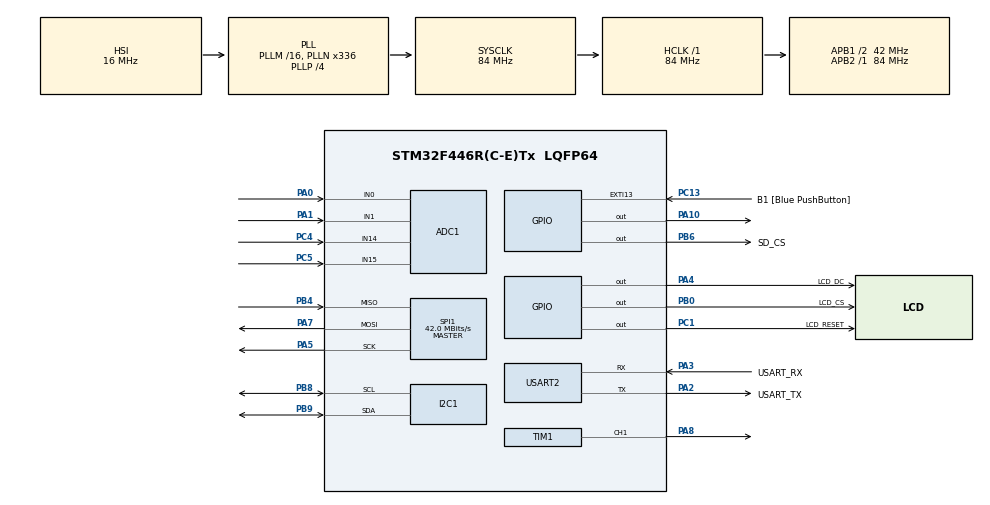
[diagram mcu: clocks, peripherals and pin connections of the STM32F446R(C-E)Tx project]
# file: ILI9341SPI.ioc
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ADC1.Channel-0\#ChannelRegularConversion=ADC_CHANNEL_0
ADC1.Channel-1\#ChannelRegularConversion=ADC_CHANNEL_1
ADC1.Channel-2\#ChannelRegularConversion=ADC_CHANNEL_14
ADC1.Channel-3\#ChannelRegularConversion=ADC_CHANNEL_15
ADC1.ContinuousConvMode=DISABLE
ADC1.DMAContinuousRequests=DISABLE
ADC1.EOCSelection=ADC_EOC_SEQ_CONV
ADC1.NbrOfConversion=4
ADC1.NbrOfConversionFlag=1
ADC1.Rank-0\#ChannelRegularConversion=1
ADC1.Rank-1\#ChannelRegularConversion=2
ADC1.Rank-2\#ChannelRegularConversion=3
ADC1.Rank-3\#ChannelRegularConversion=4
ADC1.SamplingTime-0\#ChannelRegularConversion=ADC_SAMPLETIME_56CYCLES
ADC1.SamplingTime-1\#ChannelRegularConversion=ADC_SAMPLETIME_56CYCLES
ADC1.SamplingTime-2\#ChannelRegularConversion=ADC_SAMPLETIME_56CYCLES
ADC1.SamplingTime-3\#ChannelRegularConversion=ADC_SAMPLETIME_56CYCLES
ADC1.master=1
Dma.ADC1.0.Direction=DMA_PERIPH_TO_MEMORY
Dma.ADC1.0.FIFOMode=DMA_FIFOMODE_DISABLE
Dma.ADC1.0.Instance=DMA2_Stream4
Dma.ADC1.0.MemDataAlignment=DMA_MDATAALIGN_HALFWORD
Dma.ADC1.0.MemInc=DMA_MINC_ENABLE
Dma.ADC1.0.Mode=DMA_NORMAL
Dma.ADC1.0.PeriphDataAlignment=DMA_PDATAALIGN_HALFWORD
Dma.ADC1.0.PeriphInc=DMA_PINC_DISABLE
Dma.ADC1.0.Priority=DMA_PRIORITY_LOW
Dma.Request0=ADC1
Dma.Request1=TIM1_CH1
Dma.TIM1_CH1.1.Direction=DMA_MEMORY_TO_PERIPH
Dma.TIM1_CH1.1.FIFOMode=DMA_FIFOMODE_DISABLE
Dma.TIM1_CH1.1.Instance=DMA2_Stream1
Dma.TIM1_CH1.1.MemDataAlignment=DMA_MDATAALIGN_HALFWORD
Dma.TIM1_CH1.1.MemInc=DMA_MINC_ENABLE
Dma.TIM1_CH1.1.Mode=DMA_NORMAL
Dma.TIM1_CH1.1.PeriphDataAlignment=DMA_PDATAALIGN_HALFWORD
Dma.TIM1_CH1.1.PeriphInc=DMA_PINC_DISABLE
Dma.TIM1_CH1.1.Priority=DMA_PRIORITY_LOW
I2C1.OwnAddress=0x20
Mcu.Family=STM32F4
Mcu.Name=STM32F446R(C-E)Tx
Mcu.Package=LQFP64
NVIC.DMA2_Stream1_IRQn=true\:0\:0\:true\:false\:true\:false\:true\:true
NVIC.DMA2_Stream4_IRQn=true\:0\:0\:false\:false\:true\:false\:true\:true
NVIC.I2C1_ER_IRQn=true\:0\:0\:false\:false\:true\:true\:true\:true
NVIC.I2C1_EV_IRQn=true\:0\:0\:false\:false\:true\:true\:true\:true
NVIC.PriorityGroup=NVIC_PRIORITYGROUP_0
NVIC.TIM1_CC_IRQn=true\:0\:0\:false\:false\:true\:true\:true\:true
PA0-WKUP.Signal=ADCx_IN0
PA1.Signal=ADCx_IN1
PA10.Signal=GPIO_Output
PA13.GPIO_Label=TMS
PA13.Mode=Serial_Wire
PA13.Signal=SYS_JTMS-SWDIO
PA14.GPIO_Label=TCK
PA14.Mode=Serial_Wire
PA14.Signal=SYS_JTCK-SWCLK
PA2.GPIO_Label=USART_TX
PA2.Mode=Asynchronous
PA2.Signal=USART2_TX
PA3.GPIO_Label=USART_RX
PA3.Mode=Asynchronous
PA3.Signal=USART2_RX
PA4.GPIO_Label=LCD_DC
PA4.GPIO_Speed=GPIO_SPEED_FREQ_MEDIUM
PA4.Signal=GPIO_Output
PA5.Mode=Full_Duplex_Master
PA5.Signal=SPI1_SCK
PA7.Mode=Full_Duplex_Master
PA7.Signal=SPI1_MOSI
PA8.GPIO_Speed=GPIO_SPEED_FREQ_HIGH
PA8.Signal=S_TIM1_CH1
PB0.GPIO_Label=LCD_CS
PB0.GPIO_Speed=GPIO_SPEED_FREQ_MEDIUM
PB0.Signal=GPIO_Output
PB3.GPIO_Label=SWO
PB3.Signal=SYS_JTDO-SWO
PB4.Mode=Full_Duplex_Master
PB4.Signal=SPI1_MISO
PB6.GPIO_Label=SD_CS
PB6.GPIO_Speed=GPIO_SPEED_FREQ_MEDIUM
PB6.Signal=GPIO_Output
PB8.GPIO_Pu=GPIO_PULLUP
PB8.Mode=I2C
PB8.Signal=I2C1_SCL
PB9.GPIO_Pu=GPIO_PULLUP
PB9.Mode=I2C
PB9.Signal=I2C1_SDA
PC1.GPIO_Label=LCD_RESET
PC1.GPIO_Speed=GPIO_SPEED_FREQ_MEDIUM
PC1.Signal=GPIO_Output
PC13.GPIO_Label=B1 [Blue PushButton]
PC13.GPIO_ModeDefaultEXTI=GPIO_MODE_IT_FALLING
PC13.Signal=GPXTI13
PC14-OSC32_IN.Mode=LSE-External-Oscillator
PC14-OSC32_IN.Signal=RCC_OSC32_IN
PC15-OSC32_OUT.Mode=LSE-External-Oscillator
PC15-OSC32_OUT.Signal=RCC_OSC32_OUT
PC4.Signal=ADCx_IN14
PC5.Signal=ADCx_IN15
PH0-OSC_IN.Mode=HSE-External-Oscillator
PH0-OSC_IN.Signal=RCC_OSC_IN
PH1-OSC_OUT.Mode=HSE-External-Oscillator
PH1-OSC_OUT.Signal=RCC_OSC_OUT
ProjectManager.HeapSize=0x200
ProjectManager.StackSize=0x400
ProjectManager.TargetToolchain=STM32CubeIDE
RCC.48MHZClocksFreq_Value=84000000
RCC.AHBFreq_Value=84000000
RCC.APB1CLKDivider=RCC_HCLK_DIV2
RCC.APB1Freq_Value=42000000
RCC.APB1TimFreq_Value=84000000
RCC.APB2Freq_Value=84000000
RCC.APB2TimFreq_Value=84000000
RCC.CortexFreq_Value=84000000
RCC.FLatency-AdvancedSettings=FLASH_LATENCY_2
RCC.HCLKFreq_Value=84000000
RCC.HSE_VALUE=8000000
RCC.HSI_VALUE=16000000
RCC.PLLN=336
RCC.PLLP=RCC_PLLP_DIV4
RCC.SYSCLKFreq_VALUE=84000000
RCC.SYSCLKSource=RCC_SYSCLKSOURCE_PLLCLK
RCC.USBFreq_Value=168000000
RCC.VCOOutputFreq_Value=336000000
SH.ADCx_IN0.0=ADC1_IN0,IN0
SH.ADCx_IN1.0=ADC1_IN1,IN1
SH.ADCx_IN14.0=ADC1_IN14,IN14
SH.ADCx_IN15.0=ADC1_IN15,IN15
SH.S_TIM1_CH1.0=TIM1_CH1,PWM Generation1 CH1
SPI1.BaudRatePrescaler=SPI_BAUDRATEPRESCALER_2
SPI1.CalculateBaudRate=42.0 MBits/s
SPI1.Direction=SPI_DIRECTION_2LINES
SPI1.Mode=SPI_MODE_MASTER
SPI1.VirtualType=VM_MASTER
TIM1.Channel-PWM\ Generation1\ CH1=TIM_CHANNEL_1
TIM1.Period=105-1
USART2.VirtualMode=VM_ASYNC
VP_TIM1_VS_ClockSourceINT.Mode=Internal
board=NUCLEO-F446RE

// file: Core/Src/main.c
/* USER CODE BEGIN Header */
/**
 ******************************************************************************
 * @file           : main.c
 * @brief          : Main program body
 ******************************************************************************
 * @attention
 *
 * Copyright (c) 2024 STMicroelectronics.
 * All rights reserved.
 *
 * This software is licensed under terms that can be found in the LICENSE file
 * in the root directory of this software component.
 * If no LICENSE file comes with this software, it is provided AS-IS.
 *
 ******************************************************************************
 */
/* USER CODE END Header */
#include "main.h"

/* USER CODE BEGIN Includes */
#include "ili9341.h"
#include "bitmaps.h"
#include "Neopixel.h"
/* USER CODE END Includes */

/* USER CODE BEGIN PD */
#define TXBUFFERSIZE 4
#define RXBUFFERSIZE 4
#define valor_LDR  3000
#define COLOR_ASFALTO   0x4A49
#define COLOR_AMARILLO  0xF7E0
#define SEG_ON  0x07E0   // verde
#define SEG_OFF 0x0000   // negro (apagado)

// Segmentos: A=arriba, B=sup-der, C=inf-der, D=abajo, E=inf-izq, F=sup-izq, G=medio
// x,y = esquina superior izquierda del display
#define DSP_X  145      //135   // centrado en pantalla (320/2 - 25)
#define DSP_Y  112      //120   // dentro de la calle central
/* USER CODE END PD */

ADC_HandleTypeDef hadc1;
DMA_HandleTypeDef hdma_adc1;

I2C_HandleTypeDef hi2c1;

SPI_HandleTypeDef hspi1;

TIM_HandleTypeDef htim1;
DMA_HandleTypeDef hdma_tim1_ch1;

UART_HandleTypeDef huart2;

/* USER CODE BEGIN PV */
extern const uint16_t menu[];
extern const uint16_t mcqueen_bitmap[];
uint16_t adcValor[4];

int cont = 0;
uint8_t aTxBuffer[TXBUFFERSIZE];
uint8_t aRxBuffer[RXBUFFERSIZE];

uint8_t estadoAnterior[8] = {0, 0, 0, 0, 0, 0, 0, 0}; // para no repetir la impresion en pantalla
float brilloled = 100.0f;  // definición
//-------- display
uint8_t libres_anterior = 255;
/* USER CODE END PV */

void SystemClock_Config(void);
static void MX_GPIO_Init(void);
static void MX_DMA_Init(void);
static void MX_USART2_UART_Init(void);
static void MX_SPI1_Init(void);
static void MX_ADC1_Init(void);
static void MX_I2C1_Init(void);
static void MX_TIM1_Init(void);

/* USER CODE BEGIN 0 */
typedef struct {
    uint16_t x;
    uint16_t y;
    uint16_t w;
    uint16_t h;
} ParkingSpot;

const ParkingSpot spots[8] = {
    {4,   4,  68, 108},  // Espacio 1
    {80,  4,  68, 108},  // Espacio 2
    {172, 4,  68, 108},  // Espacio 3
    {248, 4,  68, 108},  // Espacio 4
    {4,   144, 68, 92},  // Espacio 5
    {80,  144, 68, 92},  // Espacio 6
    {172, 144, 68, 92},  // Espacio 7
    {248, 144, 68, 92}   // Espacio 8
};
// Dibuja el carro de McQueen en el espacio indicado (0-7)
void Parking_DrawCar(uint8_t spot_index) {
    uint16_t x = spots[spot_index].x;
    uint16_t y = spots[spot_index].y;

    // Bajar un poco el carro en la fila inferior
    if (spot_index >= 4) {
        y += 20;  // ajusta este valor al gusto
    }

    uint16_t buffer[50 * 75];
    for (int row = 0; row < 75; row++) {
        for (int col = 0; col < 50; col++) {
            buffer[row * 50 + col] = menu[(y + row) * 320 + (x + col)];
        }
    }
    LCD_Bitmap(x, y, 50, 75, buffer);
    LCD_BitmapTransparent(x, y, 50, 75, mcqueen_bitmap, 0x0000);
}

// Borra el carro y restaura el fondo del espacio
void Parking_ClearCar(uint8_t spot_index) {
    uint16_t x = spots[spot_index].x;
    uint16_t y = spots[spot_index].y;

    // Crea un buffer temporal con los pixeles del menu en esa region
    uint16_t buffer[68 * 92];
    for (int row = 0; row < 92; row++) {
        for (int col = 0; col < 68; col++) {
            buffer[row * 68 + col] = menu[(y + row) * 320 + (x + col)];
        }
    }

    // Dibuja ese recorte usando LCD_Bitmap
    LCD_Bitmap(x, y, 68, 92, buffer);
}
void Draw_Segment(uint8_t seg, uint16_t color) {
    // seg: 0=A 1=B 2=C 3=D 4=E 5=F 6=G
    switch(seg) {
        case 0: FillRect(DSP_X+3,  DSP_Y,    20, 4, color); break; // A arriba
        case 1: FillRect(DSP_X+23, DSP_Y+4,  4, 14, color); break; // B sup-der
        case 2: FillRect(DSP_X+23, DSP_Y+20, 4, 14, color); break; // C inf-der
        case 3: FillRect(DSP_X+3,  DSP_Y+34, 20, 4, color); break; // D abajo
        case 4: FillRect(DSP_X,    DSP_Y+20, 4, 14, color); break; // E inf-izq
        case 5: FillRect(DSP_X,    DSP_Y+4,  4, 14, color); break; // F sup-izq
        case 6: FillRect(DSP_X+3,  DSP_Y+17, 20, 4, color); break; // G medio
    }
}

// Tabla de segmentos por dígito: A B C D E F G
const uint8_t seg_table[9][7] = {
    {1,1,1,1,1,1,0}, // 0
    {0,1,1,0,0,0,0}, // 1
    {1,1,0,1,1,0,1}, // 2
    {1,1,1,1,0,0,1}, // 3
    {0,1,1,0,0,1,1}, // 4
    {1,0,1,1,0,1,1}, // 5
    {1,0,1,1,1,1,1}, // 6
    {1,1,1,0,0,0,0}, // 7
    {1,1,1,1,1,1,1}, // 8
};

void Draw_Display(uint8_t numero) {
    // Fondo del display
    FillRect(DSP_X-4, DSP_Y-4, 35, 46, 0x0000);

    // Dibujar cada segmento
    for (int s = 0; s < 7; s++) {
        Draw_Segment(s, seg_table[numero][s] ? SEG_ON : SEG_OFF);
    }
}
/* USER CODE END 0 */

int main(void)
{

  /* MCU Configuration--------------------------------------------------------*/

  /* Reset of all peripherals, Initializes the Flash interface and the Systick. */
  HAL_Init();

  /* Configure the system clock */
  SystemClock_Config();

  /* Initialize all configured peripherals */
  MX_GPIO_Init();
  MX_DMA_Init();
  MX_USART2_UART_Init();
  MX_SPI1_Init();
  MX_ADC1_Init();
  MX_I2C1_Init();
  MX_TIM1_Init();
  /* USER CODE BEGIN 2 */
  	LCD_Init();

  	LCD_Clear(0x00);
  	LCD_Bitmap(0, 0, 320, 240, menu);
  	aTxBuffer[0] = 1;
  	aTxBuffer[1] = 2;
  	aTxBuffer[2] = 3;
  	aTxBuffer[3] = 4 ;

  	if (HAL_I2C_EnableListen_IT(&hi2c1) != HAL_OK){
  		Error_Handler();
  	}

  	// Para neopixels debugg

  	pixelClear();

  	setPixelColor(0,255, 0, 0); // Rojo
  	setPixelColor(1,0, 255, 0); // Verde
  	setPixelColor(2,0, 0, 255); //
  	setPixelColor(3,200, 176, 85); //

  	setBrightness(100);

  	pixelShow();

    HAL_ADC_Start_DMA(&hadc1, (uint32_t *)adcValor, 4);

  /* USER CODE END 2 */

  /* Infinite loop */
  /* USER CODE BEGIN WHILE */
    while (1) {

        // --- Sensor 1 → Espacio 1 ---
        if (adcValor[0] <= valor_LDR) {
            aTxBuffer[0] = 'o';
            setPixelColor(0, 255, 0, 0);
            if (estadoAnterior[0] != 1) {
                Parking_DrawCar(0);
                estadoAnterior[0] = 1;
            }
        } else {
            aTxBuffer[0] = 'l';
            setPixelColor(0, 0, 255, 0);
            if (estadoAnterior[0] != 0) {
                Parking_ClearCar(0);
                estadoAnterior[0] = 0;
            }
        }

        // --- Sensor 2 → Espacio 2 ---
        if (adcValor[1] <= valor_LDR) {
            aTxBuffer[1] = 'o';
            setPixelColor(1, 255, 0, 0);
            if (estadoAnterior[1] != 1) {
                Parking_DrawCar(1);
                estadoAnterior[1] = 1;
            }
        } else {
            aTxBuffer[1] = 'l';
            setPixelColor(1, 0, 255, 0);
            if (estadoAnterior[1] != 0) {
                Parking_ClearCar(1);
                estadoAnterior[1] = 0;
            }
        }

        // --- Sensor 3 → Espacio 3 ---
        if (adcValor[2] <= valor_LDR) {
            aTxBuffer[2] = 'o';
            setPixelColor(2, 255, 0, 0);
            if (estadoAnterior[2] != 1) {
                Parking_DrawCar(2);
                estadoAnterior[2] = 1;
            }
        } else {
            aTxBuffer[2] = 'l';
            setPixelColor(2, 0, 255, 0);
            if (estadoAnterior[2] != 0) {
                Parking_ClearCar(2);
                estadoAnterior[2] = 0;
            }
        }

        // --- Sensor 4 → Espacio 4 ---
        if (adcValor[3] <= valor_LDR) {
            aTxBuffer[3] = 'o';
            setPixelColor(3, 255, 0, 0);
            if (estadoAnterior[3] != 1) {
                Parking_DrawCar(3);
                estadoAnterior[3] = 1;
            }
        } else {
            aTxBuffer[3] = 'l';
            setPixelColor(3, 0, 255, 0);
            if (estadoAnterior[3] != 0) {
                Parking_ClearCar(3);
                estadoAnterior[3] = 0;
            }
        }

		//aca voy a revisar lo que me manda el maestro por i2c

		for (int i = 0; i < 4; i++) {
		    if (aRxBuffer[i] == 'o') {
		        if (estadoAnterior[4 + i] != 1) {
		            Parking_DrawCar(4 + i);
		            estadoAnterior[4 + i] = 1;
		        }
		    } else if (aRxBuffer[i] == 'l') {
		        if (estadoAnterior[4 + i] != 0) {
		            Parking_ClearCar(4 + i);
		            estadoAnterior[4 + i] = 0;
		        }
		    }
		}

		uint8_t libres = 0;
		for (int i = 0; i < 8; i++) {
			if (estadoAnterior[i] == 0) libres++;
		}

		if (libres != libres_anterior) {
			Draw_Display(libres);
			libres_anterior = libres;
		}
		pixelShow();
		HAL_Delay(100);
    }
  /* USER CODE END 3 */
}

void SystemClock_Config(void)
{
  RCC_OscInitTypeDef RCC_OscInitStruct = {0};
  RCC_ClkInitTypeDef RCC_ClkInitStruct = {0};

  /** Configure the main internal regulator output voltage
  */
  __HAL_RCC_PWR_CLK_ENABLE();
  __HAL_PWR_VOLTAGESCALING_CONFIG(PWR_REGULATOR_VOLTAGE_SCALE3);

  /** Initializes the RCC Oscillators according to the specified parameters
  * in the RCC_OscInitTypeDef structure.
  */
  RCC_OscInitStruct.OscillatorType = RCC_OSCILLATORTYPE_HSI;
  RCC_OscInitStruct.HSIState = RCC_HSI_ON;
  RCC_OscInitStruct.HSICalibrationValue = RCC_HSICALIBRATION_DEFAULT;
  RCC_OscInitStruct.PLL.PLLState = RCC_PLL_ON;
  RCC_OscInitStruct.PLL.PLLSource = RCC_PLLSOURCE_HSI;
  RCC_OscInitStruct.PLL.PLLM = 16;
  RCC_OscInitStruct.PLL.PLLN = 336;
  RCC_OscInitStruct.PLL.PLLP = RCC_PLLP_DIV4;
  RCC_OscInitStruct.PLL.PLLQ = 2;
  RCC_OscInitStruct.PLL.PLLR = 2;
  if (HAL_RCC_OscConfig(&RCC_OscInitStruct) != HAL_OK)
  {
    Error_Handler();
  }

  /** Initializes the CPU, AHB and APB buses clocks
  */
  RCC_ClkInitStruct.ClockType = RCC_CLOCKTYPE_HCLK|RCC_CLOCKTYPE_SYSCLK
                              |RCC_CLOCKTYPE_PCLK1|RCC_CLOCKTYPE_PCLK2;
  RCC_ClkInitStruct.SYSCLKSource = RCC_SYSCLKSOURCE_PLLCLK;
  RCC_ClkInitStruct.AHBCLKDivider = RCC_SYSCLK_DIV1;
  RCC_ClkInitStruct.APB1CLKDivider = RCC_HCLK_DIV2;
  RCC_ClkInitStruct.APB2CLKDivider = RCC_HCLK_DIV1;

  if (HAL_RCC_ClockConfig(&RCC_ClkInitStruct, FLASH_LATENCY_2) != HAL_OK)
  {
    Error_Handler();
  }
}

static void MX_ADC1_Init(void)
{

  ADC_ChannelConfTypeDef sConfig = {0};

  /** Configure the global features of the ADC (Clock, Resolution, Data Alignment and number of conversion)
  */
  hadc1.Instance = ADC1;
  hadc1.Init.ClockPrescaler = ADC_CLOCK_SYNC_PCLK_DIV4;
  hadc1.Init.Resolution = ADC_RESOLUTION_12B;
  hadc1.Init.ScanConvMode = ENABLE;
  hadc1.Init.ContinuousConvMode = DISABLE;
  hadc1.Init.DiscontinuousConvMode = DISABLE;
  hadc1.Init.ExternalTrigConvEdge = ADC_EXTERNALTRIGCONVEDGE_NONE;
  hadc1.Init.ExternalTrigConv = ADC_SOFTWARE_START;
  hadc1.Init.DataAlign = ADC_DATAALIGN_RIGHT;
  hadc1.Init.NbrOfConversion = 4;
  hadc1.Init.DMAContinuousRequests = DISABLE;
  hadc1.Init.EOCSelection = ADC_EOC_SEQ_CONV;
  if (HAL_ADC_Init(&hadc1) != HAL_OK)
  {
    Error_Handler();
  }

  /** Configure for the selected ADC regular channel its corresponding rank in the sequencer and its sample time.
  */
  sConfig.Channel = ADC_CHANNEL_0;
  sConfig.Rank = 1;
  sConfig.SamplingTime = ADC_SAMPLETIME_56CYCLES;
  if (HAL_ADC_ConfigChannel(&hadc1, &sConfig) != HAL_OK)
  {
    Error_Handler();
  }

  /** Configure for the selected ADC regular channel its corresponding rank in the sequencer and its sample time.
  */
  sConfig.Channel = ADC_CHANNEL_1;
  sConfig.Rank = 2;
  if (HAL_ADC_ConfigChannel(&hadc1, &sConfig) != HAL_OK)
  {
    Error_Handler();
  }

  /** Configure for the selected ADC regular channel its corresponding rank in the sequencer and its sample time.
  */
  sConfig.Channel = ADC_CHANNEL_14;
  sConfig.Rank = 3;
  if (HAL_ADC_ConfigChannel(&hadc1, &sConfig) != HAL_OK)
  {
    Error_Handler();
  }

  /** Configure for the selected ADC regular channel its corresponding rank in the sequencer and its sample time.
  */
  sConfig.Channel = ADC_CHANNEL_15;
  sConfig.Rank = 4;
  if (HAL_ADC_ConfigChannel(&hadc1, &sConfig) != HAL_OK)
  {
    Error_Handler();
  }

}

static void MX_I2C1_Init(void)
{

  hi2c1.Instance = I2C1;
  hi2c1.Init.ClockSpeed = 100000;
  hi2c1.Init.DutyCycle = I2C_DUTYCYCLE_2;
  hi2c1.Init.OwnAddress1 = 64;
  hi2c1.Init.AddressingMode = I2C_ADDRESSINGMODE_7BIT;
  hi2c1.Init.DualAddressMode = I2C_DUALADDRESS_DISABLE;
  hi2c1.Init.OwnAddress2 = 0;
  hi2c1.Init.GeneralCallMode = I2C_GENERALCALL_DISABLE;
  hi2c1.Init.NoStretchMode = I2C_NOSTRETCH_DISABLE;
  if (HAL_I2C_Init(&hi2c1) != HAL_OK)
  {
    Error_Handler();
  }

}

static void MX_SPI1_Init(void)
{

  /* SPI1 parameter configuration*/
  hspi1.Instance = SPI1;
  hspi1.Init.Mode = SPI_MODE_MASTER;
  hspi1.Init.Direction = SPI_DIRECTION_2LINES;
  hspi1.Init.DataSize = SPI_DATASIZE_8BIT;
  hspi1.Init.CLKPolarity = SPI_POLARITY_LOW;
  hspi1.Init.CLKPhase = SPI_PHASE_1EDGE;
  hspi1.Init.NSS = SPI_NSS_SOFT;
  hspi1.Init.BaudRatePrescaler = SPI_BAUDRATEPRESCALER_2;
  hspi1.Init.FirstBit = SPI_FIRSTBIT_MSB;
  hspi1.Init.TIMode = SPI_TIMODE_DISABLE;
  hspi1.Init.CRCCalculation = SPI_CRCCALCULATION_DISABLE;
  hspi1.Init.CRCPolynomial = 10;
  if (HAL_SPI_Init(&hspi1) != HAL_OK)
  {
    Error_Handler();
  }

}

static void MX_TIM1_Init(void)
{

  TIM_ClockConfigTypeDef sClockSourceConfig = {0};
  TIM_MasterConfigTypeDef sMasterConfig = {0};
  TIM_OC_InitTypeDef sConfigOC = {0};
  TIM_BreakDeadTimeConfigTypeDef sBreakDeadTimeConfig = {0};

  htim1.Instance = TIM1;
  htim1.Init.Prescaler = 0;
  htim1.Init.CounterMode = TIM_COUNTERMODE_UP;
  htim1.Init.Period = 105-1;
  htim1.Init.ClockDivision = TIM_CLOCKDIVISION_DIV1;
  htim1.Init.RepetitionCounter = 0;
  htim1.Init.AutoReloadPreload = TIM_AUTORELOAD_PRELOAD_DISABLE;
  if (HAL_TIM_Base_Init(&htim1) != HAL_OK)
  {
    Error_Handler();
  }
  sClockSourceConfig.ClockSource = TIM_CLOCKSOURCE_INTERNAL;
  if (HAL_TIM_ConfigClockSource(&htim1, &sClockSourceConfig) != HAL_OK)
  {
    Error_Handler();
  }
  if (HAL_TIM_PWM_Init(&htim1) != HAL_OK)
  {
    Error_Handler();
  }
  sMasterConfig.MasterOutputTrigger = TIM_TRGO_RESET;
  sMasterConfig.MasterSlaveMode = TIM_MASTERSLAVEMODE_DISABLE;
  if (HAL_TIMEx_MasterConfigSynchronization(&htim1, &sMasterConfig) != HAL_OK)
  {
    Error_Handler();
  }
  sConfigOC.OCMode = TIM_OCMODE_PWM1;
  sConfigOC.Pulse = 0;
  sConfigOC.OCPolarity = TIM_OCPOLARITY_HIGH;
  sConfigOC.OCNPolarity = TIM_OCNPOLARITY_HIGH;
  sConfigOC.OCFastMode = TIM_OCFAST_DISABLE;
  sConfigOC.OCIdleState = TIM_OCIDLESTATE_RESET;
  sConfigOC.OCNIdleState = TIM_OCNIDLESTATE_RESET;
  if (HAL_TIM_PWM_ConfigChannel(&htim1, &sConfigOC, TIM_CHANNEL_1) != HAL_OK)
  {
    Error_Handler();
  }
  sBreakDeadTimeConfig.OffStateRunMode = TIM_OSSR_DISABLE;
  sBreakDeadTimeConfig.OffStateIDLEMode = TIM_OSSI_DISABLE;
  sBreakDeadTimeConfig.LockLevel = TIM_LOCKLEVEL_OFF;
  sBreakDeadTimeConfig.DeadTime = 0;
  sBreakDeadTimeConfig.BreakState = TIM_BREAK_DISABLE;
  sBreakDeadTimeConfig.BreakPolarity = TIM_BREAKPOLARITY_HIGH;
  sBreakDeadTimeConfig.AutomaticOutput = TIM_AUTOMATICOUTPUT_DISABLE;
  if (HAL_TIMEx_ConfigBreakDeadTime(&htim1, &sBreakDeadTimeConfig) != HAL_OK)
  {
    Error_Handler();
  }
  HAL_TIM_MspPostInit(&htim1);

}

static void MX_USART2_UART_Init(void)
{

  huart2.Instance = USART2;
  huart2.Init.BaudRate = 115200;
  huart2.Init.WordLength = UART_WORDLENGTH_8B;
  huart2.Init.StopBits = UART_STOPBITS_1;
  huart2.Init.Parity = UART_PARITY_NONE;
  huart2.Init.Mode = UART_MODE_TX_RX;
  huart2.Init.HwFlowCtl = UART_HWCONTROL_NONE;
  huart2.Init.OverSampling = UART_OVERSAMPLING_16;
  if (HAL_UART_Init(&huart2) != HAL_OK)
  {
    Error_Handler();
  }

}

static void MX_DMA_Init(void)
{

  /* DMA controller clock enable */
  __HAL_RCC_DMA2_CLK_ENABLE();

  /* DMA interrupt init */
  /* DMA2_Stream1_IRQn interrupt configuration */
  HAL_NVIC_SetPriority(DMA2_Stream1_IRQn, 0, 0);
  HAL_NVIC_EnableIRQ(DMA2_Stream1_IRQn);
  /* DMA2_Stream4_IRQn interrupt configuration */
  HAL_NVIC_SetPriority(DMA2_Stream4_IRQn, 0, 0);
  HAL_NVIC_EnableIRQ(DMA2_Stream4_IRQn);

}

static void MX_GPIO_Init(void)
{
  GPIO_InitTypeDef GPIO_InitStruct = {0};

  /* GPIO Ports Clock Enable */
  __HAL_RCC_GPIOC_CLK_ENABLE();
  __HAL_RCC_GPIOH_CLK_ENABLE();
  __HAL_RCC_GPIOA_CLK_ENABLE();
  __HAL_RCC_GPIOB_CLK_ENABLE();

  /*Configure GPIO pin Output Level */
  HAL_GPIO_WritePin(LCD_RESET_GPIO_Port, LCD_RESET_Pin, GPIO_PIN_RESET);

  /*Configure GPIO pin Output Level */
  HAL_GPIO_WritePin(GPIOA, LCD_DC_Pin|GPIO_PIN_10, GPIO_PIN_RESET);

  /*Configure GPIO pin Output Level */
  HAL_GPIO_WritePin(GPIOB, LCD_CS_Pin|SD_CS_Pin, GPIO_PIN_RESET);

  /*Configure GPIO pin : B1_Pin */
  GPIO_InitStruct.Pin = B1_Pin;
  GPIO_InitStruct.Mode = GPIO_MODE_IT_FALLING;
  GPIO_InitStruct.Pull = GPIO_NOPULL;
  HAL_GPIO_Init(B1_GPIO_Port, &GPIO_InitStruct);

  /*Configure GPIO pin : LCD_RESET_Pin */
  GPIO_InitStruct.Pin = LCD_RESET_Pin;
  GPIO_InitStruct.Mode = GPIO_MODE_OUTPUT_PP;
  GPIO_InitStruct.Pull = GPIO_NOPULL;
  GPIO_InitStruct.Speed = GPIO_SPEED_FREQ_MEDIUM;
  HAL_GPIO_Init(LCD_RESET_GPIO_Port, &GPIO_InitStruct);

  /*Configure GPIO pin : LCD_DC_Pin */
  GPIO_InitStruct.Pin = LCD_DC_Pin;
  GPIO_InitStruct.Mode = GPIO_MODE_OUTPUT_PP;
  GPIO_InitStruct.Pull = GPIO_NOPULL;
  GPIO_InitStruct.Speed = GPIO_SPEED_FREQ_MEDIUM;
  HAL_GPIO_Init(LCD_DC_GPIO_Port, &GPIO_InitStruct);

  /*Configure GPIO pins : LCD_CS_Pin SD_CS_Pin */
  GPIO_InitStruct.Pin = LCD_CS_Pin|SD_CS_Pin;
  GPIO_InitStruct.Mode = GPIO_MODE_OUTPUT_PP;
  GPIO_InitStruct.Pull = GPIO_NOPULL;
  GPIO_InitStruct.Speed = GPIO_SPEED_FREQ_MEDIUM;
  HAL_GPIO_Init(GPIOB, &GPIO_InitStruct);

  /*Configure GPIO pin : PA10 */
  GPIO_InitStruct.Pin = GPIO_PIN_10;
  GPIO_InitStruct.Mode = GPIO_MODE_OUTPUT_PP;
  GPIO_InitStruct.Pull = GPIO_NOPULL;
  GPIO_InitStruct.Speed = GPIO_SPEED_FREQ_LOW;
  HAL_GPIO_Init(GPIOA, &GPIO_InitStruct);

}

/* USER CODE BEGIN 4 */
void HAL_I2C_ListenCpltCallback(I2C_HandleTypeDef *hi2c){
	HAL_I2C_EnableListen_IT(&hi2c1);
}
void HAL_I2C_AddrCallback(I2C_HandleTypeDef *hi2c, uint8_t TransferDirection, uint16_t AddrMatchCode){
	if (TransferDirection == I2C_DIRECTION_TRANSMIT){
		if (HAL_I2C_Slave_Seq_Receive_IT(hi2c, (uint8_t *)aRxBuffer, 4,I2C_FIRST_AND_LAST_FRAME)!= HAL_OK){
			// el 1 indica la cantidad de bytes que voy a recibir. Lo puedo cambiar si mandamos mas
			Error_Handler();
		}
	} else if(TransferDirection == I2C_DIRECTION_RECEIVE){
		if (HAL_I2C_Slave_Seq_Transmit_IT(hi2c, (uint8_t *)aTxBuffer, 4,I2C_FIRST_AND_LAST_FRAME)!= HAL_OK){
			Error_Handler();
		}
	}
}
void HAL_I2C_SlaveRxCpltCallback(I2C_HandleTypeDef *I2cHandle){
	// aca reviso lo que recibi en aRxBuffer
	//hay que limpiar el buffer aRxBuffer = 0;

}
void HAL_I2C_ErrorCallback(I2C_HandleTypeDef *I2cHandle){
	if(HAL_I2C_GetError(I2cHandle) != HAL_I2C_ERROR_AF){
		Error_Handler();
	}
}
void HAL_I2C_SlaveTxCpltCallback(I2C_HandleTypeDef *I2cHandle){
	//aca ya se completo el envio y puedo cambiar la variable de envio
	/*
	aTxBuffer[0]++;
	aTxBuffer[1]++;
	aTxBuffer[2]++;
	aTxBuffer[3]++;

	*/

}

void HAL_ADC_ConvCpltCallback(ADC_HandleTypeDef* hadc)
{
    if(hadc->Instance == ADC1)
    {
        HAL_ADC_Start_DMA(&hadc1, (uint32_t*)adcValor, 4);
    }
}
/* USER CODE END 4 */

void Error_Handler(void)
{
	__disable_irq();
	while (1) {
	}
}
